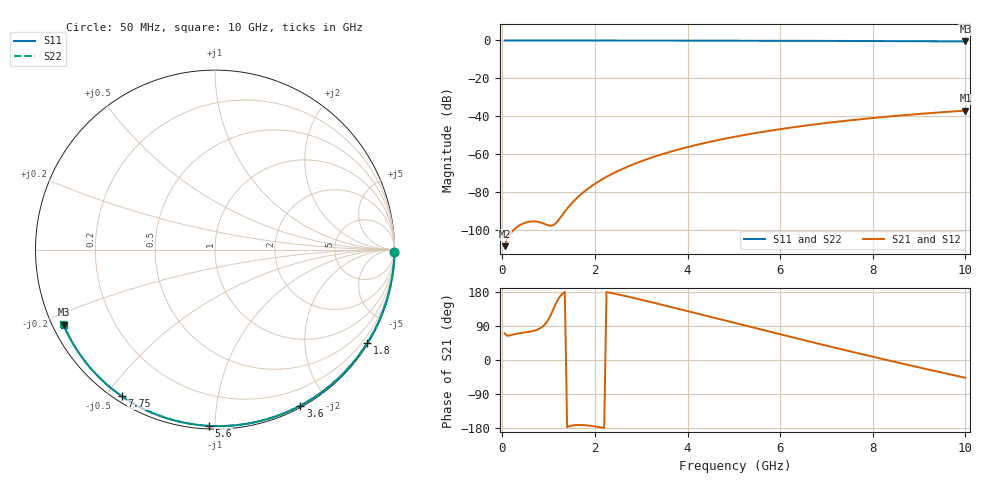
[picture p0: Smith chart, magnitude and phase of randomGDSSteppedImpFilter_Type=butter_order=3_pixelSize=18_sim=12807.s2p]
! freq	dB(S11)	phase(S11)	dB(S12)	phase(S12)
!  dB(S21)	phase(S21)	dB(S22)	phase(S22)
!S-par simulation data
#  GHz  S  DB  R 50
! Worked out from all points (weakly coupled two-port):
!   200 points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, 50 MHz to 10 GHz, reference 50 ohm
!   highest |S21| = -36.94 dB at 10 GHz (marker M1); lowest = -108.3 dB at 50 MHz (marker M2)
!   lowest |S11| = -0.5 dB at 10 GHz (marker M3), VSWR 33.41, Z = 1.58 - j11.7 ohm
!   |S11| at or under -10 dB: nowhere
!   |S22| runs from -0.5 to 0.0 dB; largest |S21 - S12| = 0
!   S11 on the Smith chart (normalised r, x): 50 MHz: open; 1.8 GHz: 0.03, -3.55; 3.6 GHz: 0.02, -1.69; 5.6 GHz: 0.02, -0.97; 7.75 GHz: 0.02, -0.55; 10 GHz: 0.03, -0.23
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0.05  -0.00 -0.9  -108.34 70.3  -108.34 70.3  -0.00 -0.9
0.45  -0.01 -8.0  -96.41 72.2  -96.41 72.2  -0.01 -8.0
0.9  -0.02 -15.9  -96.50 91.4  -96.50 91.4  -0.02 -15.9
1.3  -0.03 -22.9  -91.77 174.9  -91.77 174.9  -0.03 -22.9
1.75  -0.04 -30.6  -79.96 -171.8  -79.96 -171.8  -0.04 -30.6
1.8  -0.04 -31.5  -78.98 -172.2  -78.98 -172.2  -0.04 -31.5
1.95  -0.04 -34.0  -76.31 -174.4  -76.31 -174.4  -0.04 -34.0
2.1  -0.05 -36.6  -73.95 -177.2  -73.95 -177.2  -0.05 -36.6
2.3  -0.05 -39.9  -71.17 178.2  -71.17 178.2  -0.05 -40.0
2.5  -0.06 -43.3  -68.73 173.1  -68.73 173.1  -0.06 -43.3
2.9  -0.06 -49.9  -64.55 162.0  -64.55 162.0  -0.06 -50.0
3.4  -0.08 -58.1  -60.30 147.2  -60.30 147.2  -0.08 -58.1
3.6  -0.08 -61.3  -58.82 141.1  -58.82 141.1  -0.08 -61.3
4.3  -0.10 -72.3  -54.39 119.7  -54.39 119.7  -0.10 -72.4
5.05  -0.13 -83.8  -50.58 96.7  -50.58 96.7  -0.13 -83.8
5.6  -0.15 -92.0  -48.23 79.9  -48.23 79.9  -0.15 -92.0
6.15  -0.18 -100.0  -46.18 63.2  -46.18 63.2  -0.18 -100.0
6.7  -0.21 -107.8  -44.37 46.7  -44.37 46.7  -0.21 -107.9
7.75  -0.28 -122.5  -41.45 15.9  -41.45 15.9  -0.28 -122.5
8.35  -0.34 -130.7  -40.04 -1.4  -40.04 -1.4  -0.34 -130.8
9.2  -0.42 -142.4  -38.32 -25.2  -38.32 -25.2  -0.42 -142.5
10  -0.52 -153.6  -36.94 -46.9  -36.94 -46.9  -0.52 -153.7
